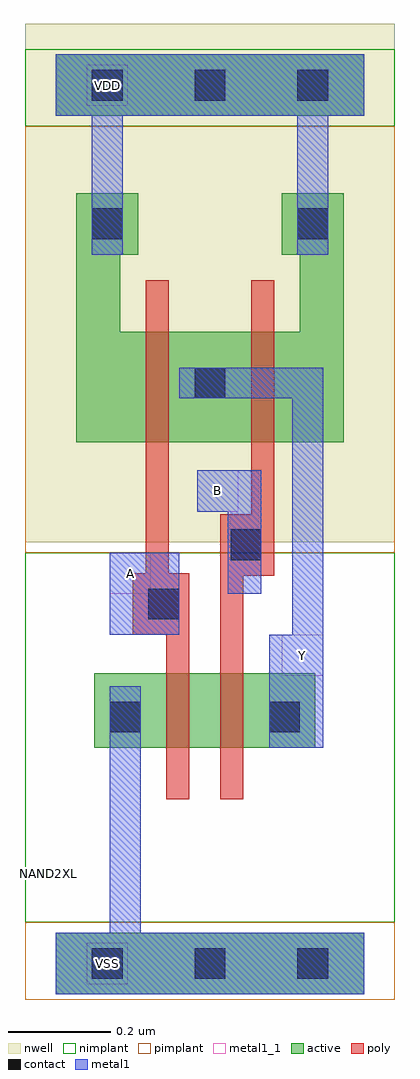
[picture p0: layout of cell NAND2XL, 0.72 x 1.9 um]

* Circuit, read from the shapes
.subckt NAND2XL A B VDD VSS Y
M1 n1 A VSS VSS nfet w=0.145u l=0.045u
M2 Y B n1 VSS nfet w=0.145u l=0.045u
M3 Y A VDD VDD pfet w=0.215u l=0.045u
M4 VDD B Y VDD pfet w=0.215u l=0.045u
.ends

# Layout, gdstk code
import gdstk
lib = gdstk.Library(unit=1e-6, precision=5e-10)
def R(c, l, rs):  # rectangles x0, y0, x1, y1
    for r in rs: c.add(gdstk.rectangle(r[:2], r[2:], *l))
def A(c, l, x, y, w, h, nx, ny, dx, dy):  # array of equal rectangles
    R(c, l, [(x+i*dx, y+j*dy, x+i*dx+w, y+j*dy+h) for i in range(nx) for j in range(ny)])
def P(c, l, *ps):  # polygons
    for p in ps: c.add(gdstk.Polygon(p, *l))
active = (1, 0)
nwell = (2, 0)
poly = (3, 0)
nimplant = (4, 0)
pimplant = (5, 0)
contact = (6, 0)
metal1 = (7, 0)
metal1_1 = (7, 1)

nand2xl = lib.new_cell('NAND2XL')
R(nand2xl, active, [(0,-0.06,0.6,0.06), (0.075,0.42,0.505,0.565), (0,1.65,0.6,1.77)])
P(nand2xl, active, [(0.04,1.5),(0.16,1.5),(0.16,1.38),(0.125,1.38),(0.125,1.23),(0.475,1.23),(0.475,1.38),(0.44,1.38),(0.44,1.5),(0.56,1.5),(0.56,1.015),(0.04,1.015)])
R(nand2xl, nwell, [(-0.06,0.82,0.66,1.83)])
P(nand2xl, poly, [(0.26,0.76),(0.22,0.76),(0.22,1.33),(0.175,1.33),(0.175,0.76),(0.15,0.76),(0.15,0.64),(0.215,0.64),(0.215,0.32),(0.26,0.32)],
  [(0.425,1.33),(0.38,1.33),(0.38,0.875),(0.32,0.875),(0.32,0.32),(0.365,0.32),(0.365,0.755),(0.425,0.755)])
R(nand2xl, nimplant, [(-0.06,0.08,0.66,0.8), (-0.06,1.63,0.66,1.78)])
R(nand2xl, pimplant, [(-0.06,-0.07,0.66,0.08), (-0.06,0.8,0.66,1.63)])
A(nand2xl, contact, 0.07, -0.03, 0.06, 0.06, 3, 2, 0.2, 1.71)
R(nand2xl, contact, [(0.105,0.45,0.165,0.51), (0.415,0.45,0.475,0.51), (0.18,0.67,0.24,0.73), (0.34,0.785,0.4,0.845), (0.27,1.1,0.33,1.16), (0.07,1.41,0.13,1.47), (0.47,1.41,0.53,1.47)])
R(nand2xl, metal1, [(0.105,0.64,0.24,0.8)])
P(nand2xl, metal1, [(0.4,0.96),(0.275,0.96),(0.275,0.88),(0.335,0.88),(0.335,0.72),(0.4,0.72)],
  [(0.52,1.16),(0.24,1.16),(0.24,1.1),(0.46,1.1),(0.46,0.64),(0.415,0.64),(0.415,0.42),(0.52,0.42)],
  [(0.105,0.54),(0.165,0.54),(0.165,0.06),(0.6,0.06),(0.6,-0.06),(0,-0.06),(0,0.06),(0.105,0.06)],
  [(0,1.77),(0.6,1.77),(0.6,1.65),(0.53,1.65),(0.53,1.38),(0.47,1.38),(0.47,1.65),(0.13,1.65),(0.13,1.38),(0.07,1.38),(0.07,1.65),(0,1.65)])
R(nand2xl, metal1_1, [(0.06,-0.04,0.14,0.04), (0.44,0.56,0.52,0.64), (0.105,0.72,0.185,0.8), (0.275,0.88,0.355,0.96), (0.06,1.67,0.14,1.75)])
nand2xl.add(gdstk.Label('Y', (0.48,0.6), layer=7, texttype=1))
nand2xl.add(gdstk.Label('VDD', (0.1,1.71), layer=7, texttype=1))
nand2xl.add(gdstk.Label('VSS', (0.1,0), layer=7, texttype=1))
nand2xl.add(gdstk.Label('A', (0.145,0.76), layer=7, texttype=1))
nand2xl.add(gdstk.Label('B', (0.315,0.92), layer=7, texttype=1))
nand2xl.add(gdstk.Label('NAND2XL', (-0.015,0.175), layer=63, texttype=0))

lib.write_gds('NAND2XL.gds')
